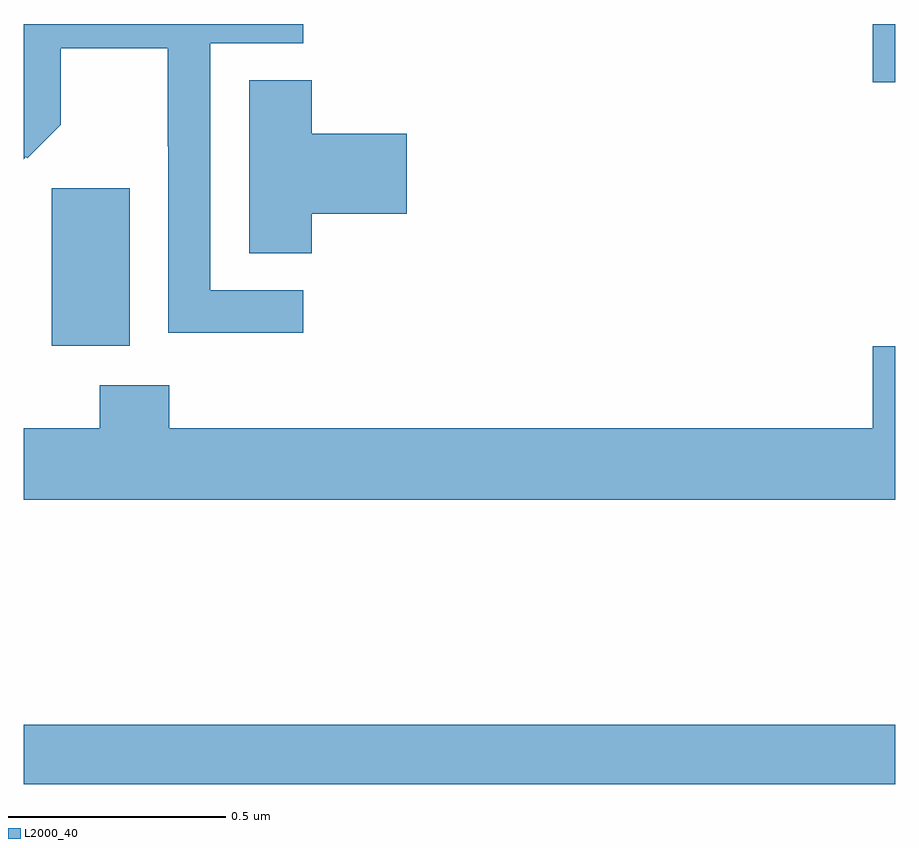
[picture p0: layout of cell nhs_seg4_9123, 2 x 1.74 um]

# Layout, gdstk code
import gdstk
lib = gdstk.Library(unit=1e-6, precision=1e-09)
def R(c, l, rs):  # rectangles x0, y0, x1, y1
    for r in rs: c.add(gdstk.rectangle(r[:2], r[2:], *l))
def P(c, l, *ps):  # polygons
    for p in ps: c.add(gdstk.Polygon(p, *l))
L2000_40 = (2000, 40)

nhs_seg4_9123 = lib.new_cell('nhs_seg4_9123')
R(nhs_seg4_9123, L2000_40, [(223,808.156,225,808.292), (223.064,809.162,223.243,809.523), (224.948,809.766,225,809.9)])
P(nhs_seg4_9123, L2000_40, [(223.642,809.289),(223.428,809.289),(223.428,809.856),(223.642,809.856),(223.642,809.9),(223,809.9),(223,809.59),(223.005,809.595),(223.008,809.592),(223.085,809.669),(223.085,809.844),(223.33,809.844),(223.33,809.62),(223.332,809.62),(223.332,809.191),(223.642,809.191)],
  [(223.661,809.465),(223.879,809.465),(223.879,809.648),(223.661,809.648),(223.661,809.771),(223.517,809.771),(223.517,809.374),(223.661,809.374)],
  [(225,809.161),(224.948,809.161),(224.948,808.972),(223.334,808.972),(223.334,809.071),(223.174,809.071),(223.174,808.972),(223,808.972),(223,808.808),(225,808.808)])

lib.write_gds('nhs_seg4_9123.gds')
